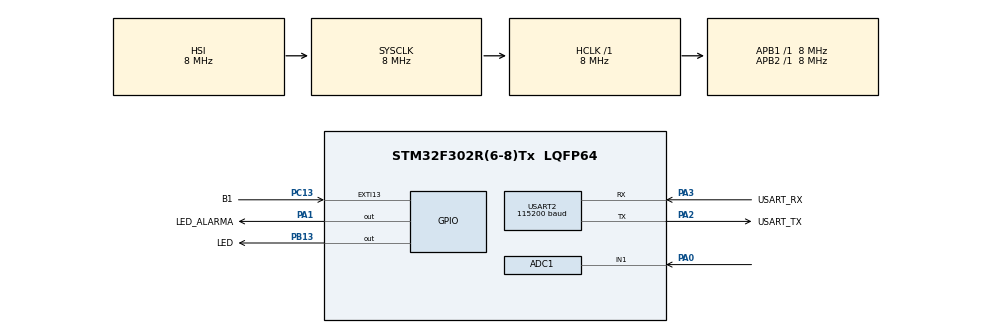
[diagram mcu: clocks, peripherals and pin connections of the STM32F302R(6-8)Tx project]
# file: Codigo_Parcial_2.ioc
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ADC1.Channel-0\#ChannelRegularConversion=ADC_CHANNEL_1
ADC1.ContinuousConvMode=DISABLE
ADC1.DMAContinuousRequests=ENABLE
ADC1.NbrOfConversionFlag=1
ADC1.Offset-0\#ChannelRegularConversion=0
ADC1.OffsetNumber-0\#ChannelRegularConversion=ADC_OFFSET_NONE
ADC1.Rank-0\#ChannelRegularConversion=1
ADC1.SamplingTime-0\#ChannelRegularConversion=ADC_SAMPLETIME_181CYCLES_5
ADC1.SamplingTimeOPAMP-0\#ChannelRegularConversion=ADC_SAMPLETIME_61CYCLES_5
ADC1.SubFamily=STM32F302x8
ADC1.master=1
Dma.ADC1.0.Direction=DMA_PERIPH_TO_MEMORY
Dma.ADC1.0.Instance=DMA1_Channel1
Dma.ADC1.0.MemDataAlignment=DMA_MDATAALIGN_WORD
Dma.ADC1.0.MemInc=DMA_MINC_ENABLE
Dma.ADC1.0.Mode=DMA_CIRCULAR
Dma.ADC1.0.PeriphDataAlignment=DMA_PDATAALIGN_WORD
Dma.ADC1.0.PeriphInc=DMA_PINC_DISABLE
Dma.ADC1.0.Priority=DMA_PRIORITY_LOW
Dma.Request0=ADC1
Mcu.Family=STM32F3
Mcu.Name=STM32F302R(6-8)Tx
Mcu.Package=LQFP64
NVIC.DMA1_Channel1_IRQn=true\:0\:0\:false\:false\:true\:false\:true\:true
NVIC.PriorityGroup=NVIC_PRIORITYGROUP_0
NVIC.TIM6_DAC_IRQn=true\:0\:0\:false\:false\:true\:true\:true\:true
NVIC.USART2_IRQn=true\:0\:0\:false\:false\:true\:true\:true\:true
PA0.Mode=IN1-Single-Ended
PA0.Signal=ADC1_IN1
PA1.GPIO_Label=LED_ALARMA
PA1.Signal=GPIO_Output
PA13.GPIO_Label=TMS
PA13.Mode=Serial_Wire
PA13.Signal=SYS_JTMS-SWDIO
PA14.GPIO_Label=TCK
PA14.Mode=Serial_Wire
PA14.Signal=SYS_JTCK-SWCLK
PA2.GPIO_Label=USART_TX
PA2.GPIO_Mode=GPIO_MODE_AF_PP
PA2.GPIO_PuPd=GPIO_NOPULL
PA2.GPIO_Speed=GPIO_SPEED_FREQ_LOW
PA2.Mode=Asynchronous
PA2.Signal=USART2_TX
PA3.GPIO_Label=USART_RX
PA3.GPIO_Mode=GPIO_MODE_AF_PP
PA3.GPIO_PuPd=GPIO_NOPULL
PA3.GPIO_Speed=GPIO_SPEED_FREQ_LOW
PA3.Mode=Asynchronous
PA3.Signal=USART2_RX
PB13.GPIO_Label=LED
PB13.Signal=GPIO_Output
PB3.GPIO_Label=SWO
PB3.Mode=Trace_Asynchronous_SW
PB3.Signal=SYS_JTDO-TRACESWO
PC13.GPIO_Label=B1
PC13.GPIO_ModeDefaultEXTI=GPIO_MODE_IT_FALLING
PC13.Signal=GPXTI13
PC14\ -\ OSC32_IN.Mode=LSE-External-Oscillator
PC14\ -\ OSC32_IN.Signal=RCC_OSC32_IN
PC15\ -\ OSC32_OUT.Mode=LSE-External-Oscillator
PC15\ -\ OSC32_OUT.Signal=RCC_OSC32_OUT
PF0-OSC_IN.Mode=HSE-External-Clock-Source
PF0-OSC_IN.Signal=RCC_OSC_IN
PF1-OSC_OUT.Signal=RCC_OSC_OUT
ProjectManager.HeapSize=0x200
ProjectManager.StackSize=0x400
ProjectManager.TargetToolchain=CMake
RCC.AHBFreq_Value=8000000
RCC.APB1Freq_Value=8000000
RCC.APB1TimFreq_Value=8000000
RCC.APB2Freq_Value=8000000
RCC.APB2TimFreq_Value=8000000
RCC.CortexFreq_Value=8000000
RCC.HCLKFreq_Value=8000000
RCC.HSE_VALUE=8000000
RCC.HSI_VALUE=8000000
RCC.PLLM=8
RCC.PLLMUL=RCC_PLL_MUL16
RCC.PLLN=336
RCC.PLLP=RCC_PLLP_DIV4
RCC.PLLQ=7
RCC.RCC_PLLsource_Clock_Source_FROM_HSE=RCC_HSE_PREDIV_DIV2
RCC.SYSCLKFreq_VALUE=8000000
RCC.USBFreq_Value=64000000
TIM6.Period=1000-1
TIM6.Prescaler=8-1
USART2.BaudRate=115200
USART2.VirtualMode-Asynchronous=VM_ASYNC
VP_TIM6_VS_ClockSourceINT.Mode=Enable_Timer
board=NUCLEO-F302R8

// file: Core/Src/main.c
/* USER CODE BEGIN Header */
/**
  ******************************************************************************
  * @file           : main.c
  * @brief          : Main program body
  ******************************************************************************
  * @attention
  *
  * Copyright (c) 2026 STMicroelectronics.
  * All rights reserved.
  *
  * This software is licensed under terms that can be found in the LICENSE file
  * in the root directory of this software component.
  * If no LICENSE file comes with this software, it is provided AS-IS.
  *
  ******************************************************************************

//-------------------------------------------------------------------------------------//
//link de video: https://youtu.be/s2w25CqE0jE
//
//link de github: https://github.com/Rafiel007/parcial_2_micro_20231728.git
//-------------------------------------------------------------------------------------//

  */
/* USER CODE END Header */
#include "main.h"
#include "string.h"
#include "stdio.h"

/* USER CODE BEGIN PD */

#define TELEMETRIA_PERIODO_MS 1000U

#define ADC_RESOLUCION_BITS 12U
#define ADC_MAXIMO ((1UL << ADC_RESOLUCION_BITS) - 1UL)

/* USER CODE END PD */

ADC_HandleTypeDef hadc1;
DMA_HandleTypeDef hdma_adc1;

TIM_HandleTypeDef htim6;

UART_HandleTypeDef huart2;

/* USER CODE BEGIN PV */
uint32_t LecturaADC;
//para el control de tiempo del adc
volatile uint32_t ms_tick = 0;
volatile uint32_t ultimo_tick_adc = 0;

//para el control de tiempo del led
volatile uint32_t ultimo_tick_led = 0;

//para el control de tiempo de la telemetria
volatile uint32_t ultimo_tick_telemetria = 0;

volatile uint32_t ultimo_tiempo_teclado = 0;

//porcentaje de la lectura del adc o PTC
uint32_t porcentaje_adc = 0;

//Boton B1

//estados del boton
typedef enum {
    ESTADO_PAUSE = 0,
    ESTADO_RUN
} EstadoSistema_t;

EstadoSistema_t estado_sistema = ESTADO_PAUSE;

// control antirrebote del botón B1
typedef enum {
    BTN_LIBRE = 0,
    BTN_ANTIRBT_PRSS,
    BTN_ESPERANDO_LIBERACION,
    BTN_ANTIRBT_LIBR
} EstadoBoton_t;

EstadoBoton_t estado_btn = BTN_LIBRE;
uint32_t tick_boton_antirbt = 0;

// Variables para la alarma
uint32_t thr = 70U;
uint8_t alarma_activa = 0;

#define LED_ALARMA_ON() (HAL_GPIO_WritePin(LED_ALARMA_GPIO_Port, LED_ALARMA_Pin, GPIO_PIN_SET))
#define LED_ALARMA_OFF() (HAL_GPIO_WritePin(LED_ALARMA_GPIO_Port, LED_ALARMA_Pin, GPIO_PIN_RESET))

#define BOTON_PRESIONADO() (HAL_GPIO_ReadPin(B1_GPIO_Port, B1_Pin) == GPIO_PIN_RESET)

//buffer de 32 bits de texto
#define TAM_BUFFER_RX 32
char buffer_rx[TAM_BUFFER_RX];
volatile uint16_t indice_rx = 0;
uint8_t dato_rx;
volatile uint8_t comando_recibido_flag = 0;

/* USER CODE END PV */

void SystemClock_Config(void);
static void MX_GPIO_Init(void);
static void MX_DMA_Init(void);
static void MX_ADC1_Init(void);
static void MX_USART2_UART_Init(void);
static void MX_TIM6_Init(void);

/* USER CODE BEGIN PFP */

void ProcesarComandoUART(char *cmd);

/* USER CODE END PFP */

int main(void)
{

  /* MCU Configuration--------------------------------------------------------*/

  /* Reset of all peripherals, Initializes the Flash interface and the Systick. */
  HAL_Init();

  /* Configure the system clock */
  SystemClock_Config();

  /* Initialize all configured peripherals */
  MX_GPIO_Init();
  MX_DMA_Init();
  MX_ADC1_Init();
  MX_USART2_UART_Init();
  MX_TIM6_Init();
  /* USER CODE BEGIN 2 */

  HAL_TIM_Base_Start_IT(&htim6);

  HAL_UART_Receive_IT(&huart2, &dato_rx, 1);

  uint8_t mensaje_inicio[] = "UART encendido\r\n";
  HAL_UART_Transmit(&huart2, mensaje_inicio, sizeof(mensaje_inicio) - 1, HAL_MAX_DELAY);

  /* USER CODE END 2 */

  /* Infinite loop */
  /* USER CODE BEGIN WHILE */
  while (1)
  {
    //------------------------//
    //funciones de la 1 a la 3//
    //------------------------//

     uint32_t ahora = ms_tick;

     //tick del adc cada 100ms
      if ((uint32_t)(ahora - ultimo_tick_adc) >= 100U)
        {
          ultimo_tick_adc = ahora;

           HAL_ADC_Start_DMA(&hadc1, &LecturaADC,1);

          uint32_t adc_actual = LecturaADC;
          porcentaje_adc = (uint8_t)((100UL * adc_actual + ADC_MAXIMO / 2UL) / ADC_MAXIMO);
        }

        //tick del led cada 500ms
      if ((uint32_t)(ahora - ultimo_tick_led) >= 500)
        {
          ultimo_tick_led = ahora;
          HAL_GPIO_TogglePin(LED_GPIO_Port, LED_Pin);
        }

        //tick de la telemetria cada 1000ms
      if ((indice_rx == 0) && ((uint32_t)(ahora - ultimo_tiempo_teclado) > 5000U))
      {
        if ((uint32_t)(ahora - ultimo_tick_telemetria) >= 1000U)
        {
          ultimo_tick_telemetria = ahora;

         char mensaje_tel[64];
          int len = snprintf(mensaje_tel, sizeof(mensaje_tel),
                   "t=%lu;ADC=%lu;PCT=%lu;THR=%lu;MODE=%s;ALARM=%u\r\n",
                   ms_tick,
                   LecturaADC,
                   porcentaje_adc,
                   thr,
                   (estado_sistema == ESTADO_RUN) ? "RUN" : "PAUSE",
                   alarma_activa);

                   HAL_UART_Transmit(&huart2, (uint8_t*)mensaje_tel, len, HAL_MAX_DELAY);

        }
      }

       if (comando_recibido_flag == 1)
      {
          comando_recibido_flag = 0;
          ProcesarComandoUART(buffer_rx);
      }
      //--------------------------------------//
      // Control del botón B1 con antirrebote
      //--------------------------------------//

      switch (estado_btn)
      {
          case BTN_LIBRE:
              if (BOTON_PRESIONADO())
              {
                  tick_boton_antirbt = ahora;
                  estado_btn = BTN_ANTIRBT_PRSS;
              }
              break;

          case BTN_ANTIRBT_PRSS:
              if ((uint32_t)(ahora - tick_boton_antirbt) >= 30U)
              {
                  if (BOTON_PRESIONADO()) // Confirmamos estabilidad tras 30ms
                  {
                      //aca alterna entre y RUN / PAUSE
                      if (estado_sistema == ESTADO_PAUSE) {
                          estado_sistema = ESTADO_RUN;
                      } else {
                          estado_sistema = ESTADO_PAUSE;
                      }

                      estado_btn = BTN_ESPERANDO_LIBERACION;
                  }
                  else
                  {
                      estado_btn = BTN_LIBRE;
                  }
              }
              break;

          case BTN_ESPERANDO_LIBERACION:
              if (!BOTON_PRESIONADO())
              {
                  tick_boton_antirbt = ahora;
                  estado_btn = BTN_ANTIRBT_LIBR;
              }
              break;

          case BTN_ANTIRBT_LIBR:
              if ((uint32_t)(ahora - tick_boton_antirbt) >= 30U)
              {
                  if (!BOTON_PRESIONADO())
                  {
                      estado_btn = BTN_LIBRE;
                  }
                  else
                  {

                      estado_btn = BTN_ESPERANDO_LIBERACION;
                  }
              }
              break;
      }
      //------------------//
      //SISTEMA DE ALARMA
      //------------------//

        if (estado_sistema == ESTADO_RUN)
        {
          if (porcentaje_adc >= thr)
          {
            LED_ALARMA_ON();
            alarma_activa = 1;
          }

          else if (porcentaje_adc < thr-5U )
          {
            LED_ALARMA_OFF();
            alarma_activa = 0;
          }
        }
        else if(estado_sistema == ESTADO_PAUSE)
        {
          LED_ALARMA_OFF();
          alarma_activa = 0;
        }
  }

    /* USER CODE END WHILE */

}

void SystemClock_Config(void)
{
  RCC_OscInitTypeDef RCC_OscInitStruct = {0};
  RCC_ClkInitTypeDef RCC_ClkInitStruct = {0};
  RCC_PeriphCLKInitTypeDef PeriphClkInit = {0};

  /** Initializes the RCC Oscillators according to the specified parameters
  * in the RCC_OscInitTypeDef structure.
  */
  RCC_OscInitStruct.OscillatorType = RCC_OSCILLATORTYPE_HSI;
  RCC_OscInitStruct.HSIState = RCC_HSI_ON;
  RCC_OscInitStruct.HSICalibrationValue = RCC_HSICALIBRATION_DEFAULT;
  RCC_OscInitStruct.PLL.PLLState = RCC_PLL_ON;
  RCC_OscInitStruct.PLL.PLLSource = RCC_PLLSOURCE_HSI;
  RCC_OscInitStruct.PLL.PLLMUL = RCC_PLL_MUL16;
  if (HAL_RCC_OscConfig(&RCC_OscInitStruct) != HAL_OK)
  {
    Error_Handler();
  }

  /** Initializes the CPU, AHB and APB buses clocks
  */
  RCC_ClkInitStruct.ClockType = RCC_CLOCKTYPE_HCLK|RCC_CLOCKTYPE_SYSCLK
                              |RCC_CLOCKTYPE_PCLK1|RCC_CLOCKTYPE_PCLK2;
  RCC_ClkInitStruct.SYSCLKSource = RCC_SYSCLKSOURCE_HSI;
  RCC_ClkInitStruct.AHBCLKDivider = RCC_SYSCLK_DIV1;
  RCC_ClkInitStruct.APB1CLKDivider = RCC_HCLK_DIV1;
  RCC_ClkInitStruct.APB2CLKDivider = RCC_HCLK_DIV1;

  if (HAL_RCC_ClockConfig(&RCC_ClkInitStruct, FLASH_LATENCY_0) != HAL_OK)
  {
    Error_Handler();
  }
  PeriphClkInit.PeriphClockSelection = RCC_PERIPHCLK_ADC1;
  PeriphClkInit.Adc1ClockSelection = RCC_ADC1PLLCLK_DIV1;

  if (HAL_RCCEx_PeriphCLKConfig(&PeriphClkInit) != HAL_OK)
  {
    Error_Handler();
  }
}

static void MX_ADC1_Init(void)
{

  ADC_ChannelConfTypeDef sConfig = {0};

  /** Common config
  */
  hadc1.Instance = ADC1;
  hadc1.Init.ClockPrescaler = ADC_CLOCK_ASYNC_DIV1;
  hadc1.Init.Resolution = ADC_RESOLUTION_12B;
  hadc1.Init.ScanConvMode = ADC_SCAN_DISABLE;
  hadc1.Init.ContinuousConvMode = DISABLE;
  hadc1.Init.DiscontinuousConvMode = DISABLE;
  hadc1.Init.ExternalTrigConvEdge = ADC_EXTERNALTRIGCONVEDGE_NONE;
  hadc1.Init.ExternalTrigConv = ADC_SOFTWARE_START;
  hadc1.Init.DataAlign = ADC_DATAALIGN_RIGHT;
  hadc1.Init.NbrOfConversion = 1;
  hadc1.Init.DMAContinuousRequests = ENABLE;
  hadc1.Init.EOCSelection = ADC_EOC_SINGLE_CONV;
  hadc1.Init.LowPowerAutoWait = DISABLE;
  hadc1.Init.Overrun = ADC_OVR_DATA_OVERWRITTEN;
  if (HAL_ADC_Init(&hadc1) != HAL_OK)
  {
    Error_Handler();
  }

  /** Configure Regular Channel
  */
  sConfig.Channel = ADC_CHANNEL_1;
  sConfig.Rank = ADC_REGULAR_RANK_1;
  sConfig.SingleDiff = ADC_SINGLE_ENDED;
  sConfig.SamplingTime = ADC_SAMPLETIME_181CYCLES_5;
  sConfig.OffsetNumber = ADC_OFFSET_NONE;
  sConfig.Offset = 0;
  if (HAL_ADC_ConfigChannel(&hadc1, &sConfig) != HAL_OK)
  {
    Error_Handler();
  }

}

static void MX_TIM6_Init(void)
{

  TIM_MasterConfigTypeDef sMasterConfig = {0};

  htim6.Instance = TIM6;
  htim6.Init.Prescaler = 8-1;
  htim6.Init.CounterMode = TIM_COUNTERMODE_UP;
  htim6.Init.Period = 1000-1;
  htim6.Init.AutoReloadPreload = TIM_AUTORELOAD_PRELOAD_DISABLE;
  if (HAL_TIM_Base_Init(&htim6) != HAL_OK)
  {
    Error_Handler();
  }
  sMasterConfig.MasterOutputTrigger = TIM_TRGO_RESET;
  sMasterConfig.MasterSlaveMode = TIM_MASTERSLAVEMODE_DISABLE;
  if (HAL_TIMEx_MasterConfigSynchronization(&htim6, &sMasterConfig) != HAL_OK)
  {
    Error_Handler();
  }

}

static void MX_USART2_UART_Init(void)
{

  huart2.Instance = USART2;
  huart2.Init.BaudRate = 115200;
  huart2.Init.WordLength = UART_WORDLENGTH_8B;
  huart2.Init.StopBits = UART_STOPBITS_1;
  huart2.Init.Parity = UART_PARITY_NONE;
  huart2.Init.Mode = UART_MODE_TX_RX;
  huart2.Init.HwFlowCtl = UART_HWCONTROL_NONE;
  huart2.Init.OverSampling = UART_OVERSAMPLING_16;
  huart2.Init.OneBitSampling = UART_ONE_BIT_SAMPLE_DISABLE;
  huart2.AdvancedInit.AdvFeatureInit = UART_ADVFEATURE_NO_INIT;
  if (HAL_UART_Init(&huart2) != HAL_OK)
  {
    Error_Handler();
  }

}

static void MX_DMA_Init(void)
{

  /* DMA controller clock enable */
  __HAL_RCC_DMA1_CLK_ENABLE();

  /* DMA interrupt init */
  /* DMA1_Channel1_IRQn interrupt configuration */
  HAL_NVIC_SetPriority(DMA1_Channel1_IRQn, 0, 0);
  HAL_NVIC_EnableIRQ(DMA1_Channel1_IRQn);

}

static void MX_GPIO_Init(void)
{
  GPIO_InitTypeDef GPIO_InitStruct = {0};

  /* GPIO Ports Clock Enable */
  __HAL_RCC_GPIOC_CLK_ENABLE();
  __HAL_RCC_GPIOF_CLK_ENABLE();
  __HAL_RCC_GPIOA_CLK_ENABLE();
  __HAL_RCC_GPIOB_CLK_ENABLE();

  /*Configure GPIO pin Output Level */
  HAL_GPIO_WritePin(LED_ALARMA_GPIO_Port, LED_ALARMA_Pin, GPIO_PIN_RESET);

  /*Configure GPIO pin Output Level */
  HAL_GPIO_WritePin(LED_GPIO_Port, LED_Pin, GPIO_PIN_RESET);

  /*Configure GPIO pin : B1_Pin */
  GPIO_InitStruct.Pin = B1_Pin;
  GPIO_InitStruct.Mode = GPIO_MODE_IT_FALLING;
  GPIO_InitStruct.Pull = GPIO_NOPULL;
  HAL_GPIO_Init(B1_GPIO_Port, &GPIO_InitStruct);

  /*Configure GPIO pin : LED_ALARMA_Pin */
  GPIO_InitStruct.Pin = LED_ALARMA_Pin;
  GPIO_InitStruct.Mode = GPIO_MODE_OUTPUT_PP;
  GPIO_InitStruct.Pull = GPIO_NOPULL;
  GPIO_InitStruct.Speed = GPIO_SPEED_FREQ_LOW;
  HAL_GPIO_Init(LED_ALARMA_GPIO_Port, &GPIO_InitStruct);

  /*Configure GPIO pin : LED_Pin */
  GPIO_InitStruct.Pin = LED_Pin;
  GPIO_InitStruct.Mode = GPIO_MODE_OUTPUT_PP;
  GPIO_InitStruct.Pull = GPIO_NOPULL;
  GPIO_InitStruct.Speed = GPIO_SPEED_FREQ_LOW;
  HAL_GPIO_Init(LED_GPIO_Port, &GPIO_InitStruct);

}

/* USER CODE BEGIN 4 */

// funcion de tiempo de 1ms
void HAL_TIM_PeriodElapsedCallback(TIM_HandleTypeDef *htim)
{
  if (htim->Instance == TIM6)
  {
    ms_tick++;
  }
}

      //------------------//
      //comandos por uart
      //------------------//
void ProcesarComandoUART(char *cmd)
{
  // 1. Comando START
    if (strcmp(cmd, "START") == 0)
    {
        estado_sistema = ESTADO_RUN;
        char *resp = "OK RUN\r\n";
        HAL_UART_Transmit(&huart2, (uint8_t*)resp, strlen(resp), HAL_MAX_DELAY);
    }

    // 2. comando STOP
    else if (strcmp(cmd, "STOP") == 0)
    {
        estado_sistema = ESTADO_PAUSE;
        char *resp = "OK PAUSE\r\n";
        HAL_UART_Transmit(&huart2, (uint8_t*)resp, strlen(resp), HAL_MAX_DELAY);
    }

    // 3. comando STATUS
   else if (strcmp(cmd, "STATUS") == 0) {

    char mensaje_tel[64];
      int len = snprintf(mensaje_tel, sizeof(mensaje_tel),
                   "t=%lu;ADC=%lu;PCT=%lu;THR=%lu;MODE=%s;ALARM=%u\r\n",
                   ms_tick,                      // t: tiempo en ms
                   LecturaADC,                   // ADC: lectura en bruto (12 bits)
                   porcentaje_adc,               // PCT: porcentaje
                   thr,                          // THR: umbral
                   (estado_sistema == ESTADO_RUN) ? "RUN" : "PAUSE", // MODE
                   alarma_activa);               // ALARM: 0 o 1

    HAL_UART_Transmit(&huart2, (uint8_t*)mensaje_tel, len, HAL_MAX_DELAY);

   }

   // 4. control del umbral o THR

  else if (strncmp(cmd, "THR ", 4) == 0)
    {
        int valor_leido;

        if (sscanf(cmd + 4, "%d", &valor_leido) == 1)
        {
            if (valor_leido >= 10 && valor_leido <= 95)
            {
                thr = (uint32_t)valor_leido;
                char resp[32];
                int len = snprintf(resp, sizeof(resp), "OK THR=%lu\r\n", thr);
                HAL_UART_Transmit(&huart2, (uint8_t*)resp, len, HAL_MAX_DELAY);
            }
            else
            {
                char *resp = "ERR\r\n";
                HAL_UART_Transmit(&huart2, (uint8_t*)resp, strlen(resp), HAL_MAX_DELAY);
            }
        }
        else
        {
            char *resp = "ERR\r\n";
            HAL_UART_Transmit(&huart2, (uint8_t*)resp, strlen(resp), HAL_MAX_DELAY);
        }
    }

    //
    else
    {
      char *resp = "ERR\r\n";
      HAL_UART_Transmit(&huart2, (uint8_t*)resp, strlen(resp), HAL_MAX_DELAY);
    }

}

void HAL_UART_RxCpltCallback(UART_HandleTypeDef *huart)
{
    if (huart->Instance == USART2)
    {
      ultimo_tiempo_teclado = ms_tick;

        if (dato_rx == '\n' || dato_rx == '\r')
        {
            if (indice_rx > 0)
            {
                buffer_rx[indice_rx] = '\0';
                comando_recibido_flag = 1;
                indice_rx = 0;
            }
        }
        else
        {

            if (indice_rx < (TAM_BUFFER_RX - 1))
            {
                buffer_rx[indice_rx++] = (char)dato_rx;
            }
        }

        HAL_UART_Receive_IT(&huart2, &dato_rx, 1);
    }
}

/* USER CODE END 4 */

void Error_Handler(void)
{
  __disable_irq();
  while (1)
  {
  }
}
